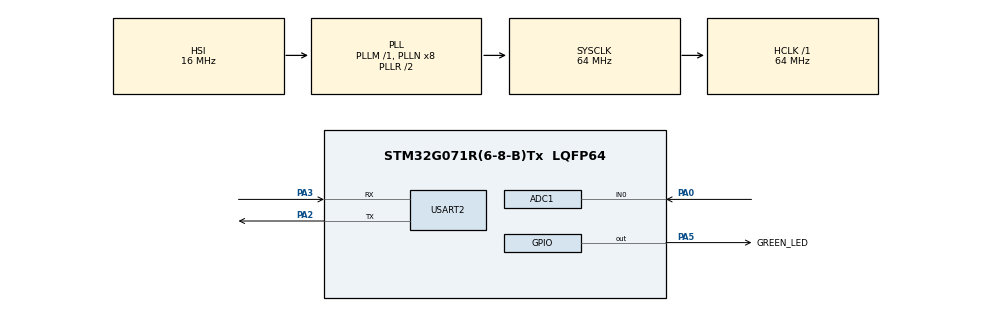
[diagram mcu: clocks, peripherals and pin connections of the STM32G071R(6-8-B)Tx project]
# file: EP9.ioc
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ADC1.Channel-0\#ChannelRegularConversion=ADC_CHANNEL_0
ADC1.Channel-1\#ChannelRegularConversion=ADC_CHANNEL_TEMPSENSOR
ADC1.ContinuousConvMode=ENABLE
ADC1.DMAContinuousRequests=ENABLE
ADC1.EOCSelection=ADC_EOC_SEQ_CONV
ADC1.NbrOfConversion=2
ADC1.NbrOfConversionFlag=1
ADC1.Overrun=ADC_OVR_DATA_OVERWRITTEN
ADC1.Rank-0\#ChannelRegularConversion=1
ADC1.Rank-1\#ChannelRegularConversion=2
ADC1.SamplingTime-0\#ChannelRegularConversion=ADC_SAMPLINGTIME_COMMON_1
ADC1.SamplingTime-1\#ChannelRegularConversion=ADC_SAMPLINGTIME_COMMON_2
ADC1.SamplingTimeCommon2=ADC_SAMPLETIME_160CYCLES_5
ADC1.SelectedChannel=ADC_CHANNEL_0|ADC_CHANNEL_TEMPSENSOR
ADC1.master=1
Dma.ADC1.0.Direction=DMA_PERIPH_TO_MEMORY
Dma.ADC1.0.EventEnable=DISABLE
Dma.ADC1.0.Instance=DMA1_Channel1
Dma.ADC1.0.MemDataAlignment=DMA_MDATAALIGN_HALFWORD
Dma.ADC1.0.MemInc=DMA_MINC_ENABLE
Dma.ADC1.0.Mode=DMA_CIRCULAR
Dma.ADC1.0.PeriphDataAlignment=DMA_PDATAALIGN_HALFWORD
Dma.ADC1.0.PeriphInc=DMA_PINC_DISABLE
Dma.ADC1.0.Polarity=HAL_DMAMUX_REQ_GEN_RISING
Dma.ADC1.0.Priority=DMA_PRIORITY_LOW
Dma.ADC1.0.RequestNumber=1
Dma.ADC1.0.SignalID=NONE
Dma.ADC1.0.SyncEnable=DISABLE
Dma.ADC1.0.SyncPolarity=HAL_DMAMUX_SYNC_NO_EVENT
Dma.ADC1.0.SyncRequestNumber=1
Dma.ADC1.0.SyncSignalID=NONE
Dma.Request0=ADC1
Mcu.Family=STM32G0
Mcu.Name=STM32G071R(6-8-B)Tx
Mcu.Package=LQFP64
NVIC.DMA1_Channel1_IRQn=true\:0\:0\:false\:false\:true\:false\:true\:true
PA0.Mode=IN0
PA0.Signal=ADC1_IN0
PA2.Mode=Asynchronous
PA2.Signal=USART2_TX
PA3.Mode=Asynchronous
PA3.Signal=USART2_RX
PA5.GPIO_Label=GREEN_LED
PA5.Signal=GPIO_Output
ProjectManager.HeapSize=0x200
ProjectManager.StackSize=0x400
ProjectManager.TargetToolchain=STM32CubeIDE
RCC.ADCFreq_Value=64000000
RCC.AHBFreq_Value=64000000
RCC.CortexFreq_Value=64000000
RCC.EXTERNAL_CLOCK_VALUE=48000
RCC.HCLKFreq_Value=64000000
RCC.HSE_VALUE=8000000
RCC.HSI_VALUE=16000000
RCC.LSE_VALUE=32768
RCC.SYSCLKFreq_VALUE=64000000
RCC.SYSCLKSource=RCC_SYSCLKSOURCE_PLLCLK
RCC.VCOOutputFreq_Value=128000000
USART2.VirtualMode-Asynchronous=VM_ASYNC
VP_ADC1_TempSens_Input.Mode=IN-TempSens
board=custom

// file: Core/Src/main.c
/* USER CODE BEGIN Header */
/**
  ******************************************************************************
  * @file           : main.c
  * @brief          : Main program body
  ******************************************************************************
  * @attention
  *
  * Copyright (c) 2025 STMicroelectronics.
  * All rights reserved.
  *
  * This software is licensed under terms that can be found in the LICENSE file
  * in the root directory of this software component.
  * If no LICENSE file comes with this software, it is provided AS-IS.
  *
  ******************************************************************************
  */
/* USER CODE END Header */
#include "main.h"
#include "adc.h"
#include "dma.h"
#include "usart.h"
#include "gpio.h"

/* USER CODE BEGIN Includes */
#include "stdio.h"
/* USER CODE END Includes */

/* USER CODE BEGIN PM */
int __io_putchar(int ch)
{
	HAL_UART_Transmit(&huart2, (uint8_t*)&ch, 1, 10);
	return ch;
}
/* USER CODE END PM */

/* USER CODE BEGIN PV */
uint16_t u16ADCBuff[2];
/* USER CODE END PV */

void SystemClock_Config(void);

int main(void)
{

  /* MCU Configuration--------------------------------------------------------*/

  /* Reset of all peripherals, Initializes the Flash interface and the Systick. */
  HAL_Init();

  /* Configure the system clock */
  SystemClock_Config();

  /* Initialize all configured peripherals */
  MX_GPIO_Init();
  MX_DMA_Init();
  MX_ADC1_Init();
  MX_USART2_UART_Init();
  /* USER CODE BEGIN 2 */
  HAL_ADCEx_Calibration_Start(&hadc1);
  HAL_ADC_Start_DMA(&hadc1,(uint32_t *) u16ADCBuff, 2);
  /* USER CODE END 2 */

  /* Infinite loop */
  while (1)
  {

    /* USER CODE BEGIN 3 */
	  printf("Channel 0: %u, Temperature: %u\r\n",u16ADCBuff[0], u16ADCBuff[1] );
	  HAL_ADC_Start_DMA(&hadc1, (uint32_t *)u16ADCBuff, 2);
	  HAL_Delay(500);
	  if(u16ADCBuff[0] > 3000)
	      HAL_GPIO_WritePin(GPIOA, GPIO_PIN_5, GPIO_PIN_SET); // LED ON
	  else
	      HAL_GPIO_WritePin(GPIOA, GPIO_PIN_5, GPIO_PIN_RESET); // LED OFF

  }
  /* USER CODE END 3 */
}

void SystemClock_Config(void)
{
  RCC_OscInitTypeDef RCC_OscInitStruct = {0};
  RCC_ClkInitTypeDef RCC_ClkInitStruct = {0};

  /** Configure the main internal regulator output voltage
  */
  HAL_PWREx_ControlVoltageScaling(PWR_REGULATOR_VOLTAGE_SCALE1);

  /** Initializes the RCC Oscillators according to the specified parameters
  * in the RCC_OscInitTypeDef structure.
  */
  RCC_OscInitStruct.OscillatorType = RCC_OSCILLATORTYPE_HSI;
  RCC_OscInitStruct.HSIState = RCC_HSI_ON;
  RCC_OscInitStruct.HSIDiv = RCC_HSI_DIV1;
  RCC_OscInitStruct.HSICalibrationValue = RCC_HSICALIBRATION_DEFAULT;
  RCC_OscInitStruct.PLL.PLLState = RCC_PLL_ON;
  RCC_OscInitStruct.PLL.PLLSource = RCC_PLLSOURCE_HSI;
  RCC_OscInitStruct.PLL.PLLM = RCC_PLLM_DIV1;
  RCC_OscInitStruct.PLL.PLLN = 8;
  RCC_OscInitStruct.PLL.PLLP = RCC_PLLP_DIV2;
  RCC_OscInitStruct.PLL.PLLQ = RCC_PLLQ_DIV2;
  RCC_OscInitStruct.PLL.PLLR = RCC_PLLR_DIV2;
  if (HAL_RCC_OscConfig(&RCC_OscInitStruct) != HAL_OK)
  {
    Error_Handler();
  }

  /** Initializes the CPU, AHB and APB buses clocks
  */
  RCC_ClkInitStruct.ClockType = RCC_CLOCKTYPE_HCLK|RCC_CLOCKTYPE_SYSCLK
                              |RCC_CLOCKTYPE_PCLK1;
  RCC_ClkInitStruct.SYSCLKSource = RCC_SYSCLKSOURCE_PLLCLK;
  RCC_ClkInitStruct.AHBCLKDivider = RCC_SYSCLK_DIV1;
  RCC_ClkInitStruct.APB1CLKDivider = RCC_HCLK_DIV1;

  if (HAL_RCC_ClockConfig(&RCC_ClkInitStruct, FLASH_LATENCY_2) != HAL_OK)
  {
    Error_Handler();
  }
}

/* USER CODE BEGIN 4 */
void HAL_ADC_ConvCpltCallback(ADC_HandleTypeDef *hadc)
{
	HAL_ADC_Stop_DMA(hadc);
}
/* USER CODE END 4 */

void Error_Handler(void)
{
  __disable_irq();
  while (1)
  {
  }
}
